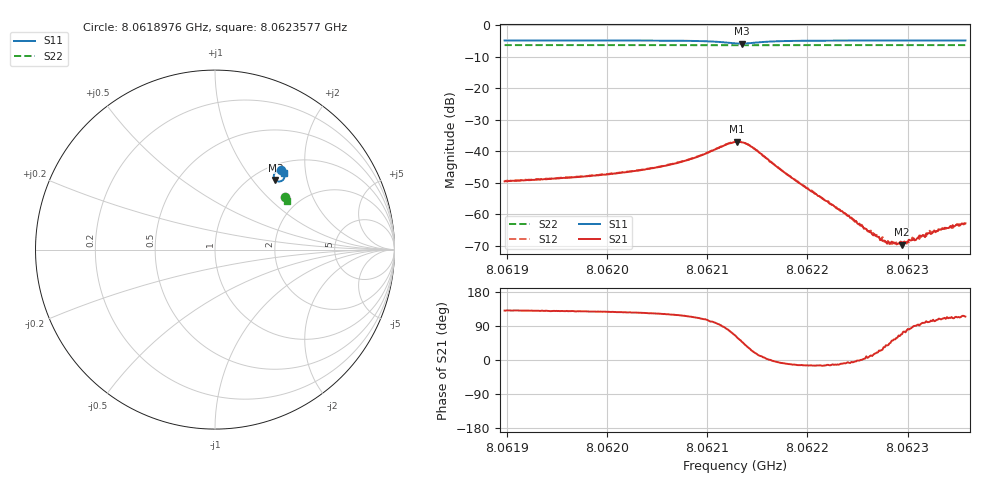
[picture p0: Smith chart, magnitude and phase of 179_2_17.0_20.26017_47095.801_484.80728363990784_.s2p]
#  HZ  S  RI  R  50.00
! Rohde & Schwarz Vector Network Analyzer
! Rohde-Schwarz,ZNB20-2Port,1311601062101988,3.16
! Created: UTC 3/20/2024, 11:00:05 PM
! freq[Hz]  re:S11  im:S11  re:S21  im:S21  re:S12  im:S12  re:S22  im:S22
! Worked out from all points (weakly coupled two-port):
!   401 points, 8.0618976 GHz to 8.0623577 GHz, reference 50 ohm
!   highest |S21| = -36.94 dB at 8.06213 GHz (marker M1); lowest = -69.6 dB at 8.0622944 GHz (marker M2)
!   lowest |S11| = -5.8 dB at 8.0621346 GHz (marker M3), VSWR 3.11, Z = 62.3 + j65.7 ohm
!   |S11| at or under -10 dB: nowhere
!   |S22| runs from -6.3 to -6.3 dB; largest |S21 - S12| = 0.001
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8.06189764e9  0.3697 0.4414  -0.00216 0.00253  -0.00206 0.00271  0.3874 0.2936
8.0619747e9  0.3758 0.4354  -0.00246 0.0031  -0.00226 0.00327  0.39 0.2897
8.06202415e9  0.3805 0.43  -0.00276 0.00392  -0.00257 0.00408  0.3917 0.2873
8.06205175e9  0.3837 0.4248  -0.00301 0.00476  -0.00275 0.00501  0.3927 0.2857
8.06208626e9  0.3874 0.4126  -0.00303 0.00716  -0.00264 0.0074  0.3938 0.2835
8.06212766e9  0.3527 0.3798  0.00589 0.0128  0.00684 0.0125  0.393 0.2807
8.06212996e9  0.3469 0.3814  0.00736 0.0122  0.00793 0.0119  0.3929 0.2809
8.06213456e9  0.3364 0.3881  0.0093 0.0103  0.0101 0.0098  0.3927 0.2811
8.06214721e9  0.3284 0.4167  0.0103 0.00362  0.0106 0.00311  0.3932 0.282
8.06217941e9  0.3544 0.4392  0.00422 -0.000754  0.00424 -0.00101  0.3955 0.2809
8.06220471e9  0.3651 0.4387  0.0022 -0.000576  0.00224 -0.000713  0.3968 0.2794
8.06223692e9  0.3726 0.4361  0.00103 -0.000153  0.00102 -0.000231  0.3981 0.2779
8.06226337e9  0.3766 0.434  0.00051 0.000109  0.000548 4.87e-05  0.3991 0.2765
8.06227487e9  0.3779 0.4332  0.000336 0.000173  0.000397 0.000177  0.3995 0.2757
8.06228177e9  0.3787 0.4327  0.000259 0.000247  0.000263 0.000208  0.3997 0.2755
8.06229212e9  0.3798 0.4321  0.000161 0.000318  0.000167 0.000285  0.4001 0.275
8.06229442e9  0.38 0.4318  0.000123 0.000306  0.000126 0.000314  0.4002 0.2749
8.06230132e9  0.3808 0.4313  6.59e-05 0.000394  6.11e-05 0.000352  0.4004 0.2744
8.06230592e9  0.3812 0.4311  4.57e-06 0.000416  5.2e-05 0.000389  0.4006 0.2743
8.06231282e9  0.3817 0.4306  -3.63e-05 0.000456  -1.48e-05 0.000432  0.4009 0.2739
8.06233237e9  0.3835 0.4293  -0.000179 0.000541  -0.000144 0.000547  0.4015 0.2731
8.06235767e9  0.3856 0.4277  -0.0003 0.000653  -0.00026 0.000671  0.4023 0.2716
